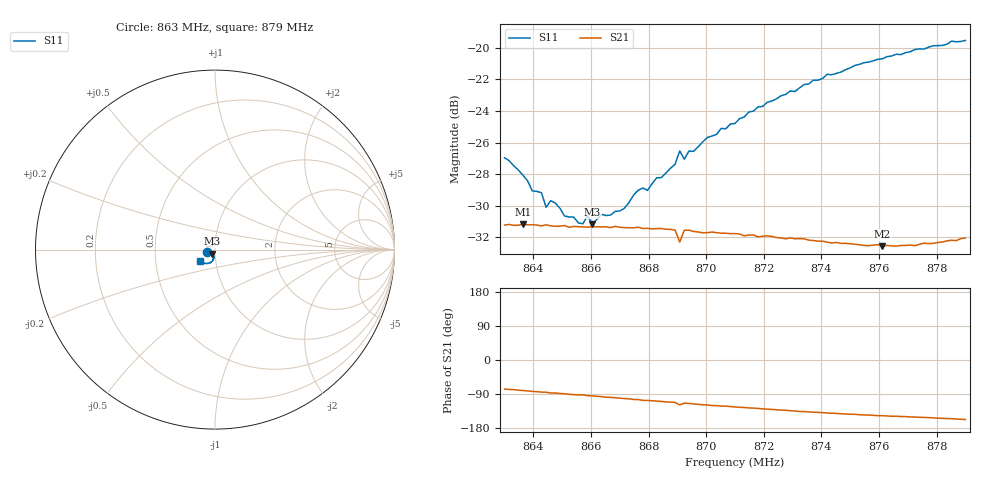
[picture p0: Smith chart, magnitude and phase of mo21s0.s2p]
# HZ S RI R 50
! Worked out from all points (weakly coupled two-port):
!   101 points, 863 MHz to 879 MHz, reference 50 ohm
!   highest |S21| = -31.18 dB at 863.64 MHz (marker M1); lowest = -32.6 dB at 876.12 MHz (marker M2)
!   lowest |S11| = -31.2 dB at 866.04 MHz (marker M3), VSWR 1.06, Z = 48.4 - j2.16 ohm
!   |S11| at or under -10 dB: start of sweep to end of sweep
!   S12 and S22 are empty: the file has one direction only
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8.63e8  -0.0419 -0.0161  0.00637 -0.0267  0 0  0 0
8.6364e8  -0.0354 -0.0173  0.00453 -0.0272  0 0  0 0
8.6396e8  -0.0313 -0.0162  0.00338 -0.0273  0 0  0 0
8.6428e8  -0.0298 -0.0179  0.0025 -0.0272  0 0  0 0
8.6444e8  -0.0273 -0.0151  0.00239 -0.0274  0 0  0 0
8.646e8  -0.0281 -0.0169  0.0014 -0.0273  0 0  0 0
8.6508e8  -0.0221 -0.0193  0.000489 -0.0273  0 0  0 0
8.6572e8  -0.017 -0.0219  -0.000935 -0.0271  0 0  0 0
8.6588e8  -0.0177 -0.0235  -0.00194 -0.027  0 0  0 0
8.6604e8  -0.0162 -0.0223  -0.00225 -0.027  0 0  0 0
8.6716e8  -0.0107 -0.0291  -0.00549 -0.0264  0 0  0 0
8.6764e8  -0.0103 -0.0339  -0.00672 -0.0262  0 0  0 0
8.6844e8  -0.00747 -0.0381  -0.00884 -0.0253  0 0  0 0
8.6892e8  -0.0072 -0.0422  -0.00992 -0.0245  0 0  0 0
8.6908e8  -0.0108 -0.0459  -0.0116 -0.0213  0 0  0 0
8.6924e8  -0.00633 -0.0439  -0.0106 -0.0242  0 0  0 0
8.7004e8  -0.0086 -0.0513  -0.0125 -0.0228  0 0  0 0
8.71e8  -0.0104 -0.0567  -0.0144 -0.0214  0 0  0 0
8.7372e8  -0.0275 -0.0741  -0.0181 -0.0165  0 0  0 0
8.7612e8  -0.0507 -0.0771  -0.0197 -0.0128  0 0  0 0
8.7644e8  -0.0546 -0.0768  -0.0201 -0.0123  0 0  0 0
8.79e8  -0.0828 -0.0654  -0.023 -0.00973  0 0  0 0
